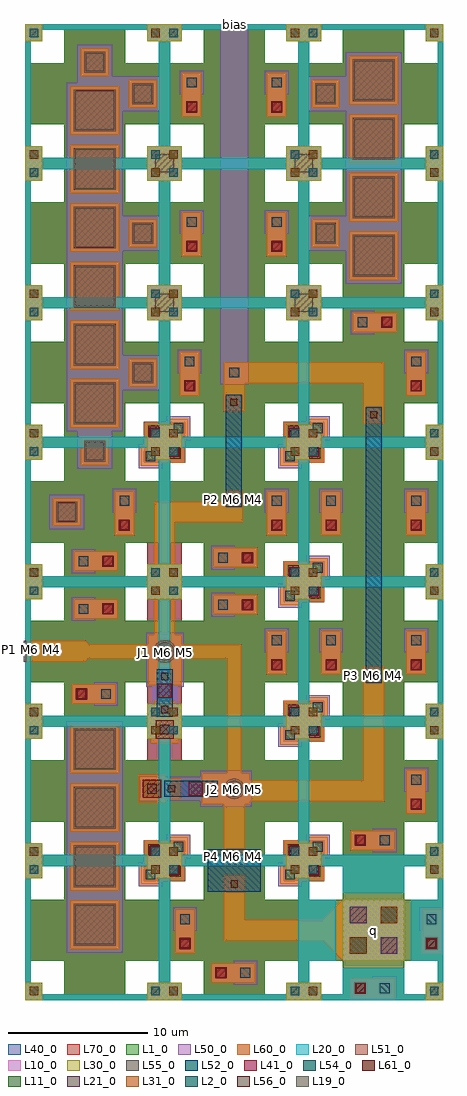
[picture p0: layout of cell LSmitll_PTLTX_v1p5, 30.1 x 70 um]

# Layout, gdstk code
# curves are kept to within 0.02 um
from math import pi, radians
import gdstk
lib = gdstk.Library(unit=1e-6, precision=1e-09)
def R(c, l, rs):  # rectangles x0, y0, x1, y1
    for r in rs: c.add(gdstk.rectangle(r[:2], r[2:], *l))
def A(c, l, x, y, w, h, nx, ny, dx, dy):  # array of equal rectangles
    R(c, l, [(x+i*dx, y+j*dy, x+i*dx+w, y+j*dy+h) for i in range(nx) for j in range(ny)])
def P(c, l, *ps):  # polygons
    for p in ps: c.add(gdstk.Polygon(p, *l))
L1_0 = (1, 0)
L2_0 = (2, 0)
L10_0 = (10, 0)
L11_0 = (11, 0)
L19_0 = (19, 0)
L20_0 = (20, 0)
L21_0 = (21, 0)
L30_0 = (30, 0)
L31_0 = (31, 0)
L40_0 = (40, 0)
L41_0 = (41, 0)
L50_0 = (50, 0)
L51_0 = (51, 0)
L52_0 = (52, 0)
L54_0 = (54, 0)
L55_0 = (55, 0)
L56_0 = (56, 0)
L60_0 = (60, 0)
L61_0 = (61, 0)
L70_0 = (70, 0)

ls_fakejj_1p5x1p5um = lib.new_cell('ls_FakeJJ_1p5x1p5um')
R(ls_fakejj_1p5x1p5um, L40_0, [(-1.25,-1.25,1.25,1.25)])
R(ls_fakejj_1p5x1p5um, L50_0, [(-1.25,-1.25,1.25,1.25)])
R(ls_fakejj_1p5x1p5um, L51_0, [(-0.75,-0.75,0.75,0.75)])
R(ls_fakejj_1p5x1p5um, L55_0, [(-0.65,-0.65,0.65,0.65)])
R(ls_fakejj_1p5x1p5um, L60_0, [(-1,-1,1,1)])

ls_fakejj_3umx3um = lib.new_cell('ls_FakeJJ_3umx3um')
R(ls_fakejj_3umx3um, L40_0, [(-2,-2,2,2)])
R(ls_fakejj_3umx3um, L50_0, [(-2,-2,2,2)])
R(ls_fakejj_3umx3um, L51_0, [(-1.5,-1.5,1.5,1.5)])
R(ls_fakejj_3umx3um, L55_0, [(-1.4,-1.4,1.4,1.4)])
R(ls_fakejj_3umx3um, L60_0, [(-1.75,-1.75,1.75,1.75)])

ls_conn_m4m5m6m7 = lib.new_cell('ls_conn_M4M5M6M7')
R(ls_conn_m4m5m6m7, L40_0, [(0,0,1.4,1.4)])
R(ls_conn_m4m5m6m7, L41_0, [(0.3,0.3,1.1,1.1)])
P(ls_conn_m4m5m6m7, L50_0, [(3.3,1.55),(1.6,1.55),(1.6,1.4),(0,1.4),(0,0),(1.6,0),(1.6,-0.15),(3.3,-0.15)])
R(ls_conn_m4m5m6m7, L54_0, [(2.1,0.35,2.8,1.05)])
R(ls_conn_m4m5m6m7, L60_0, [(0,0,3.15,1.4)])
R(ls_conn_m4m5m6m7, L61_0, [(0.35,0.35,1.05,1.05)])
R(ls_conn_m4m5m6m7, L70_0, [(0,0,1.4,1.4)])

ls_tr_ptlconnection = lib.new_cell('ls_tr_PTLconnection')
P(ls_tr_ptlconnection, L1_0, [(10,10),(7.2,10),(7.2,9.6),(8.75,9.6),(8.75,8.75),(9.6,8.75),(9.6,7.2),(7.2,7.2),(7.2,2.8),(9.6,2.8),(9.6,1.25),(8.75,1.25),(8.75,0.4),(7.2,0.4),(7.2,10),(1.25,10),(1.25,9.6),(2.8,9.6),(2.8,7.2),(0.4,7.2),(0.4,2.8),(2.8,2.8),(2.8,0.4),(1.25,0.4),(1.25,1.25),(0.4,1.25),(0.4,8.75),(1.25,8.75),(1.25,10),(0,10),(0,0),(10,0)])
R(ls_tr_ptlconnection, L2_0, [(9.05,0.35,9.65,0.95), (0.35,9.05,0.95,9.65)])
R(ls_tr_ptlconnection, L10_0, [(0,0,1.25,1.25), (8.75,0,10,1.25), (2.8,2.8,7.2,7.2), (0,8.75,1.25,10), (8.75,8.75,10,10)])
R(ls_tr_ptlconnection, L11_0, [(0.35,0.35,0.95,0.95), (3.3,3.3,4.5,4.5), (5.5,5.5,6.7,6.7), (9.05,9.05,9.65,9.65)])
R(ls_tr_ptlconnection, L20_0, [(2.8,2.8,7.2,7.2)])
P(ls_tr_ptlconnection, L20_0, [(10,10),(7.2,10),(7.2,9.6),(8.75,9.6),(8.75,8.75),(9.6,8.75),(9.6,7.2),(7.7,7.2),(7.7,2.8),(9.6,2.8),(9.6,1.25),(8.75,1.25),(8.75,0.4),(7.2,0.4),(7.2,2.3),(2.8,2.3),(2.8,0.4),(1.25,0.4),(1.25,1.25),(0.4,1.25),(0.4,2.8),(2.3,2.8),(2.3,7.2),(0.4,7.2),(0.4,8.75),(1.25,8.75),(1.25,9.6),(2.8,9.6),(2.8,7.7),(7.2,7.7),(7.2,10),(0,10),(0,0),(10,0)])
R(ls_tr_ptlconnection, L21_0, [(9.05,0.35,9.65,0.95), (5.5,3.3,6.7,4.5), (3.3,5.5,4.5,6.7), (0.35,9.05,0.95,9.65)])
R(ls_tr_ptlconnection, L30_0, [(0,0,1.25,1.25), (8.75,0,10,1.25), (2.8,2.8,7.2,7.2), (0,8.75,1.25,10), (8.75,8.75,10,10)])
R(ls_tr_ptlconnection, L31_0, [(0.35,0.35,0.95,0.95), (3.3,3.3,4.5,4.5), (5.5,5.5,6.7,6.7), (9.05,9.05,9.65,9.65)])
R(ls_tr_ptlconnection, L40_0, [(2.8,2.8,7.2,7.2)])
P(ls_tr_ptlconnection, L40_0, [(10,10),(7.2,10),(7.2,9.6),(8.75,9.6),(8.75,8.75),(9.6,8.75),(9.6,7.2),(7.7,7.2),(7.7,2.8),(9.6,2.8),(9.6,1.25),(8.75,1.25),(8.75,0.4),(7.2,0.4),(7.2,2.3),(2.8,2.3),(2.8,0.4),(1.25,0.4),(1.25,1.25),(0.4,1.25),(0.4,2.8),(2.3,2.8),(2.3,7.2),(0.4,7.2),(0.4,8.75),(1.25,8.75),(1.25,9.6),(2.8,9.6),(2.8,7.7),(7.2,7.7),(7.2,10),(0,10),(0,0),(10,0)])
R(ls_tr_ptlconnection, L41_0, [(5.5,3.3,6.7,4.5), (3.3,5.5,4.5,6.7)])
R(ls_tr_ptlconnection, L50_0, [(2.8,2.8,7.2,7.2)])
R(ls_tr_ptlconnection, L54_0, [(3.3,3.3,4.5,4.5), (5.5,5.5,6.7,6.7)])
R(ls_tr_ptlconnection, L60_0, [(2.8,2.8,7.2,7.2)])
P(ls_tr_ptlconnection, L70_0, [(10,10),(7.2,10),(7.2,9.6),(8.75,9.6),(8.75,8.75),(9.6,8.75),(9.6,7.2),(7.2,7.2),(7.2,2.8),(9.6,2.8),(9.6,1.25),(8.75,1.25),(8.75,0.4),(7.2,0.4),(7.2,10),(1.25,10),(1.25,9.6),(2.8,9.6),(2.8,7.2),(0.4,7.2),(0.4,2.8),(2.8,2.8),(2.8,0.4),(1.25,0.4),(1.25,1.25),(0.4,1.25),(0.4,8.75),(1.25,8.75),(1.25,10),(0,10),(0,0),(10,0)])

ls_res_1p36 = lib.new_cell('ls_res_1p36')
R(ls_res_1p36, L52_0, [(-1.9,0,1.9,3.05)])
R(ls_res_1p36, L56_0, [(-0.26,0.29,0.26,0.81), (-0.26,2.25,0.26,2.77)])
R(ls_res_1p36, L60_0, [(-0.625,-0.1,0.625,1.175), (-0.625,1.875,0.625,3.15)])

ls_ib_082 = lib.new_cell('ls_ib_082')
R(ls_ib_082, L52_0, [(-0.575,0,0.575,19.75)])
R(ls_ib_082, L56_0, [(-0.26,0.29,0.26,0.81), (-0.26,18.96,0.26,19.48)])
R(ls_ib_082, L60_0, [(-0.625,-0.1,0.625,1.175), (-0.625,18.575,0.625,19.85)])

ls_ib_230 = lib.new_cell('ls_ib_230')
R(ls_ib_230, L52_0, [(-0.575,0,0.575,8.025)])
R(ls_ib_230, L56_0, [(-0.26,0.29,0.26,0.81), (-0.26,7.23,0.26,7.75)])
R(ls_ib_230, L60_0, [(-0.625,-0.1,0.625,1.175), (-0.625,6.85,0.625,8.125)])

ls_conn_m5m6m7 = lib.new_cell('ls_conn_M5M6M7')
R(ls_conn_m5m6m7, L50_0, [(-0.5,-0.5,1.2,1.2)])
R(ls_conn_m5m6m7, L54_0, [(0,0,0.7,0.7)])
R(ls_conn_m5m6m7, L60_0, [(-0.65,-0.65,1.35,1.35)])
R(ls_conn_m5m6m7, L61_0, [(-0.3,-0.3,1,1)])
R(ls_conn_m5m6m7, L70_0, [(-0.65,-0.65,1.35,1.35)])

ls_jj_162_sg = lib.new_cell('ls_jj_162_sg')
R(ls_jj_162_sg, L41_0, [(-0.5,2.25,0.5,3.25)])
R(ls_jj_162_sg, L50_0, [(-1.275,-1.275,1.275,2.425), (-0.875,2.425,0.875,6.775)])
P(ls_jj_162_sg, L51_0, [(0,-0.74),(0.285,-0.685),(0.52,-0.525),(0.685,-0.285),(0.74,0),(0.685,0.28),(0.52,0.52),(0.285,0.68),(0,0.735),(-0.285,0.68),(-0.52,0.52),(-0.685,0.28),(-0.74,0),(-0.685,-0.285),(-0.52,-0.525),(-0.285,-0.685)])
R(ls_jj_162_sg, L52_0, [(-0.575,1.175,0.575,5.025)])
R(ls_jj_162_sg, L54_0, [(-0.35,5.55,0.35,6.25)])
P(ls_jj_162_sg, L55_0, [(0,-0.59),(0.23,-0.55),(0.42,-0.42),(0.54,-0.23),(0.59,0),(0.54,0.22),(0.42,0.43),(0.13,0.58),(0,0.59),(-0.13,0.58),(-0.42,0.43),(-0.54,0.22),(-0.59,0),(-0.54,-0.23),(-0.42,-0.42),(-0.23,-0.55)])
R(ls_jj_162_sg, L56_0, [(-0.26,1.44,0.26,1.96), (-0.26,4.23,0.26,4.75)])
R(ls_jj_162_sg, L60_0, [(-1.125,-1.125,1.125,2.325), (-0.725,3.85,0.725,6.625)])
ls_jj_162_sg.add(gdstk.Reference(ls_conn_m5m6m7, (-0.35,5.55)))

ls_tr_u_m4 = lib.new_cell('ls_tr_u_M4')
P(ls_tr_u_m4, L1_0, [(10,10),(7.2,10),(7.2,9.6),(8.75,9.6),(8.75,8.75),(9.6,8.75),(9.6,7.2),(7.2,7.2),(7.2,2.8),(9.6,2.8),(9.6,1.25),(8.75,1.25),(8.75,0.4),(7.2,0.4),(7.2,10),(1.25,10),(1.25,9.6),(2.8,9.6),(2.8,7.2),(0.4,7.2),(0.4,2.8),(2.8,2.8),(2.8,0.4),(1.25,0.4),(1.25,1.25),(0.4,1.25),(0.4,8.75),(1.25,8.75),(1.25,10),(0,10),(0,0),(10,0)])
R(ls_tr_u_m4, L2_0, [(9.05,0.35,9.65,0.95), (0.35,9.05,0.95,9.65)])
R(ls_tr_u_m4, L10_0, [(0,0,1.25,1.25), (8.75,0,10,1.25), (0,8.75,1.25,10), (8.75,8.75,10,10)])
R(ls_tr_u_m4, L11_0, [(0.35,0.35,0.95,0.95), (9.05,9.05,9.65,9.65)])
P(ls_tr_u_m4, L20_0, [(10,10),(1.25,10),(1.25,9.6),(8.75,9.6),(8.75,8.75),(9.6,8.75),(9.6,1.25),(8.75,1.25),(8.75,0.4),(1.25,0.4),(1.25,1.25),(0.4,1.25),(0.4,8.75),(1.25,8.75),(1.25,10),(0,10),(0,0),(10,0)])
R(ls_tr_u_m4, L21_0, [(9.05,0.35,9.65,0.95), (0.35,9.05,0.95,9.65)])
R(ls_tr_u_m4, L30_0, [(0,0,1.25,1.25), (8.75,0,10,1.25), (0,8.75,1.25,10), (8.75,8.75,10,10)])
R(ls_tr_u_m4, L31_0, [(0.35,0.35,0.95,0.95), (9.05,9.05,9.65,9.65)])
P(ls_tr_u_m4, L40_0, [(10,10),(7.2,10),(7.2,9.6),(8.75,9.6),(8.75,8.75),(9.6,8.75),(9.6,7.2),(7.2,7.2),(7.2,2.8),(9.6,2.8),(9.6,1.25),(8.75,1.25),(8.75,0.4),(7.2,0.4),(7.2,10),(1.25,10),(1.25,9.6),(2.8,9.6),(2.8,7.2),(0.4,7.2),(0.4,2.8),(2.8,2.8),(2.8,0.4),(1.25,0.4),(1.25,1.25),(0.4,1.25),(0.4,8.75),(1.25,8.75),(1.25,10),(0,10),(0,0),(10,0)])

ls_conn_m5m6 = lib.new_cell('ls_conn_M5M6')
R(ls_conn_m5m6, L50_0, [(0,0,1.7,1.7)])
R(ls_conn_m5m6, L54_0, [(0.5,0.5,1.2,1.2)])
R(ls_conn_m5m6, L60_0, [(0.15,0.15,1.55,1.55)])

ls_conn_m4m5m6m7_block = lib.new_cell('ls_conn_M4M5M6M7_block')
R(ls_conn_m4m5m6m7_block, L40_0, [(-1.475,-1.475,1.475,1.475)])
R(ls_conn_m4m5m6m7_block, L41_0, [(0.375,-1.175,1.175,-0.375), (-1.175,0.375,-0.375,1.175)])
P(ls_conn_m4m5m6m7_block, L50_0, [(1.85,1.85),(0.15,1.85),(0.15,1.475),(-1.475,1.475),(-1.475,-0.15),(-1.85,-0.15),(-1.85,-1.85),(-0.15,-1.85),(-0.15,-1.475),(1.475,-1.475),(1.475,0.15),(1.85,0.15)])
R(ls_conn_m4m5m6m7_block, L54_0, [(-1.35,-1.35,-0.65,-0.65), (0.65,0.65,1.35,1.35)])
P(ls_conn_m4m5m6m7_block, L60_0, [(1.7,1.7),(0.3,1.7),(0.3,1.45),(-1.45,1.45),(-1.45,-0.3),(-1.7,-0.3),(-1.7,-1.7),(-0.3,-1.7),(-0.3,-1.45),(1.45,-1.45),(1.45,0.3),(1.7,0.3)])
R(ls_conn_m4m5m6m7_block, L61_0, [(0.35,-1.05,1.05,-0.35), (-1.05,0.35,-0.35,1.05)])
R(ls_conn_m4m5m6m7_block, L70_0, [(-1.45,-1.45,1.45,1.45)])

ls_tr_m7 = lib.new_cell('ls_tr_M7')
P(ls_tr_m7, L70_0, [(10,10),(7.2,10),(7.2,9.6),(8.75,9.6),(8.75,8.75),(9.6,8.75),(9.6,7.2),(7.2,7.2),(7.2,2.8),(9.6,2.8),(9.6,1.25),(8.75,1.25),(8.75,0.4),(7.2,0.4),(7.2,10),(1.25,10),(1.25,9.6),(2.8,9.6),(2.8,7.2),(0.4,7.2),(0.4,2.8),(2.8,2.8),(2.8,0.4),(1.25,0.4),(1.25,1.25),(0.4,1.25),(0.4,8.75),(1.25,8.75),(1.25,10),(0,10),(0,0),(10,0)])

ls_jj_200_sg = lib.new_cell('ls_jj_200_sg')
R(ls_jj_200_sg, L41_0, [(-0.5,2.325,0.5,3.325)])
R(ls_jj_200_sg, L50_0, [(-1.35,-1.35,1.35,2.525), (-0.875,2.525,0.875,6.45)])
P(ls_jj_200_sg, L51_0, [(0,-0.815),(0.315,-0.755),(0.58,-0.575),(0.755,-0.31),(0.815,0),(0.755,0.315),(0.58,0.58),(0.315,0.76),(0,0.82),(-0.315,0.76),(-0.58,0.58),(-0.755,0.315),(-0.815,0),(-0.755,-0.31),(-0.58,-0.575),(-0.315,-0.755)])
R(ls_jj_200_sg, L52_0, [(-0.575,1.275,0.575,4.7)])
P(ls_jj_200_sg, L55_0, [(0,-0.67),(0.27,-0.62),(0.37,-0.56),(0.57,-0.37),(0.67,-0.13),(0.67,0.13),(0.57,0.37),(0.27,0.61),(0,0.67),(-0.27,0.61),(-0.47,0.47),(-0.57,0.37),(-0.67,0.13),(-0.67,-0.13),(-0.57,-0.37),(-0.27,-0.62)])
R(ls_jj_200_sg, L56_0, [(-0.26,1.54,0.26,2.06), (-0.26,3.91,0.26,4.43)])
R(ls_jj_200_sg, L60_0, [(-1.2,-1.2,1.2,2.425), (-0.725,3.525,0.725,6.3)])
ls_jj_200_sg.add(gdstk.Reference(ls_conn_m5m6m7, (-0.35,5.25)))

lsmitll_ptltx_v1p5 = lib.new_cell('LSmitll_PTLTX_v1p5')
R(lsmitll_ptltx_v1p5, L19_0, [(14.75,10.025,15.25,10.525), (24.75,23.05,25.25,23.55), (14.725,35.675,15.225,36.175)])
R(lsmitll_ptltx_v1p5, L40_0, [(8.75,17.2,11.25,22.8), (8.75,27.2,11.25,32.8)])
A(lsmitll_ptltx_v1p5, L50_0, 3, 7.4, 4, 0.2, 1, 3, 0, 4.2)
A(lsmitll_ptltx_v1p5, L50_0, 7, 43.75, 0.2, 2.5, 1, 3, 0, 10)
A(lsmitll_ptltx_v1p5, L50_0, 3, 44.8, 4, 0.2, 1, 5, 0, 4.2)
A(lsmitll_ptltx_v1p5, L50_0, 23, 55.375, 4, 0.2, 1, 3, 0, 4.2)
R(lsmitll_ptltx_v1p5, L50_0, [(23.35,0,24.95,0.15), (29.85,3.35,30,4.95), (3.75,40.6,6.25,40.8), (22.8,53.75,23,56.25), (22.8,63.75,23,66.25), (3.75,65.8,6.25,66), (6.25,65.8,7,66.25)])
R(lsmitll_ptltx_v1p5, L60_0, [(23.35,0,26.5,0.15), (29.85,3.35,30,6.5)])
P(lsmitll_ptltx_v1p5, L60_0, [(4.325,25.75),(4.325,24.25),(5.075,25)],
  [(22.8,7.2),(20.6,5),(22.8,2.8)])
R(lsmitll_ptltx_v1p5, L70_0, [(8.75,17.2,11.25,22.8), (8.75,27.2,11.25,32.8)])
lsmitll_ptltx_v1p5.add(gdstk.FlexPath([(21.825,5),(14.55,5)], 1.5, ends="flush", simple_path=True, layer=60, datatype=0))  # L60_0
lsmitll_ptltx_v1p5.add(gdstk.FlexPath([(10,35),(15.6,35)], 1.5, ends="flush", simple_path=True, layer=60, datatype=0))  # L60_0
lsmitll_ptltx_v1p5.add(gdstk.FlexPath([(10,26.2),(10,35.75)], 1.5, ends="flush", simple_path=True, layer=60, datatype=0))  # L60_0
lsmitll_ptltx_v1p5.add(gdstk.FlexPath([(4.325,25),(0,25)], 1.5, ends="flush", simple_path=True, layer=60, datatype=0))  # L60_0
lsmitll_ptltx_v1p5.add(gdstk.FlexPath([(15,4.25),(15,8.95)], 1.5, ends="flush", simple_path=True, layer=60, datatype=0))  # L60_0
lsmitll_ptltx_v1p5.add(gdstk.FlexPath([(15,9.65),(15,14.1)], 1.5, ends="flush", simple_path=True, layer=60, datatype=0))  # L60_0
lsmitll_ptltx_v1p5.add(gdstk.FlexPath([(10.9,24.975),(15.5,24.975)], 1, ends="flush", simple_path=True, layer=60, datatype=0))  # L60_0
lsmitll_ptltx_v1p5.add(gdstk.FlexPath([(15,25.45),(15,16.125)], 1, ends="flush", simple_path=True, layer=60, datatype=0))  # L60_0
lsmitll_ptltx_v1p5.add(gdstk.FlexPath([(16.125,15),(25,15),(25,23.925)], 1.5, ends="flush", simple_path=True, layer=60, datatype=0))  # L60_0
lsmitll_ptltx_v1p5.add(gdstk.FlexPath([(15,45.75),(15,42.225)], 1.5, ends="flush", simple_path=True, layer=60, datatype=0))  # L60_0
lsmitll_ptltx_v1p5.add(gdstk.FlexPath([(14.25,45),(25.75,45)], 1.5, ends="flush", simple_path=True, layer=60, datatype=0))  # L60_0
lsmitll_ptltx_v1p5.add(gdstk.FlexPath([(25,41.325),(25,44.25)], 1.5, ends="flush", simple_path=True, layer=60, datatype=0))  # L60_0
lsmitll_ptltx_v1p5.add(gdstk.FlexPath([(15,44.15),(15,70)], 2, ends="flush", simple_path=True, layer=50, datatype=0))  # L50_0
lsmitll_ptltx_v1p5.add(gdstk.FlexPath([(0,24.25),(0,25.75)], 0.2, ends="flush", simple_path=True, layer=19, datatype=0))  # L19_0
lsmitll_ptltx_v1p5.add(gdstk.FlexPath([(9,25),(4.175,25)], 1.05, ends="flush", simple_path=True, layer=60, datatype=0))  # L60_0
lsmitll_ptltx_v1p5.add(gdstk.Reference(ls_fakejj_1p5x1p5um, (10,50)))
lsmitll_ptltx_v1p5.add(gdstk.Reference(ls_fakejj_1p5x1p5um, (20,50)))
lsmitll_ptltx_v1p5.add(gdstk.Reference(ls_fakejj_1p5x1p5um, (20,60)))
lsmitll_ptltx_v1p5.add(gdstk.Reference(ls_fakejj_1p5x1p5um, (10,60)))
lsmitll_ptltx_v1p5.add(gdstk.Reference(ls_fakejj_3umx3um, (5,5.4)))
lsmitll_ptltx_v1p5.add(gdstk.Reference(ls_fakejj_3umx3um, (5,9.6)))
lsmitll_ptltx_v1p5.add(gdstk.Reference(ls_fakejj_3umx3um, (5,13.8)))
lsmitll_ptltx_v1p5.add(gdstk.Reference(ls_fakejj_3umx3um, (5,18)))
lsmitll_ptltx_v1p5.add(gdstk.Reference(ls_fakejj_3umx3um, (5,42.8)))
lsmitll_ptltx_v1p5.add(gdstk.Reference(ls_conn_m4m5m6m7, (26.65,47.9), rotation=pi, x_reflection=True))
lsmitll_ptltx_v1p5.add(gdstk.Reference(ls_conn_m4m5m6m7, (12.5,43.35), rotation=pi/2))
lsmitll_ptltx_v1p5.add(gdstk.Reference(ls_conn_m4m5m6m7, (18.75,33.35), rotation=pi/2))
lsmitll_ptltx_v1p5.add(gdstk.Reference(ls_conn_m4m5m6m7, (28.75,43.35), rotation=pi/2))
lsmitll_ptltx_v1p5.add(gdstk.Reference(ls_conn_m4m5m6m7, (22.65,33.35), rotation=pi/2))
lsmitll_ptltx_v1p5.add(gdstk.Reference(ls_conn_m4m5m6m7, (28.75,33.35), rotation=pi/2))
lsmitll_ptltx_v1p5.add(gdstk.Reference(ls_conn_m4m5m6m7, (28.75,23.35), rotation=pi/2))
lsmitll_ptltx_v1p5.add(gdstk.Reference(ls_conn_m4m5m6m7, (23.35,10.75)))
lsmitll_ptltx_v1p5.add(gdstk.Reference(ls_conn_m4m5m6m7, (23.35,0.15)))
lsmitll_ptltx_v1p5.add(gdstk.Reference(ls_conn_m4m5m6m7, (12.175,3.35), rotation=pi/2))
lsmitll_ptltx_v1p5.add(gdstk.Reference(ls_conn_m4m5m6m7, (29.85,3.35), rotation=pi/2))
lsmitll_ptltx_v1p5.add(gdstk.Reference(ls_conn_m4m5m6m7, (22.65,23.35), rotation=pi/2))
lsmitll_ptltx_v1p5.add(gdstk.Reference(ls_conn_m4m5m6m7, (18.75,23.35), rotation=pi/2))
lsmitll_ptltx_v1p5.add(gdstk.Reference(ls_conn_m4m5m6m7, (3.35,21.25)))
lsmitll_ptltx_v1p5.add(gdstk.Reference(ls_conn_m4m5m6m7, (6.65,27.35), rotation=pi, x_reflection=True))
lsmitll_ptltx_v1p5.add(gdstk.Reference(ls_tr_ptlconnection, (20,0)))
lsmitll_ptltx_v1p5.add(gdstk.Reference(ls_res_1p36, (15,7.775)))
lsmitll_ptltx_v1p5.add(gdstk.Reference(ls_ib_082, (25,22.75)))
lsmitll_ptltx_v1p5.add(gdstk.Reference(ls_ib_230, (14.975,35.375)))
lsmitll_ptltx_v1p5.add(gdstk.Reference(ls_jj_162_sg, (15.001,15.15), rotation=3*pi/2, x_reflection=True))
lsmitll_ptltx_v1p5.add(gdstk.Reference(ls_tr_u_m4, (0,40)))
lsmitll_ptltx_v1p5.add(gdstk.Reference(ls_tr_u_m4, (0,30)))
lsmitll_ptltx_v1p5.add(gdstk.Reference(ls_tr_u_m4, (0,20)))
lsmitll_ptltx_v1p5.add(gdstk.Reference(ls_tr_u_m4, (0,10)))
lsmitll_ptltx_v1p5.add(gdstk.Reference(ls_tr_u_m4, (0,0)))
lsmitll_ptltx_v1p5.add(gdstk.Reference(ls_tr_u_m4, (10,10)))
lsmitll_ptltx_v1p5.add(gdstk.Reference(ls_tr_u_m4, (10,20)))
lsmitll_ptltx_v1p5.add(gdstk.Reference(ls_tr_u_m4, (10,30)))
lsmitll_ptltx_v1p5.add(gdstk.Reference(ls_tr_u_m4, (10,40)))
lsmitll_ptltx_v1p5.add(gdstk.Reference(ls_tr_u_m4, (20,40)))
lsmitll_ptltx_v1p5.add(gdstk.Reference(ls_tr_u_m4, (20,30)))
lsmitll_ptltx_v1p5.add(gdstk.Reference(ls_tr_u_m4, (20,20)))
lsmitll_ptltx_v1p5.add(gdstk.Reference(ls_tr_u_m4, (20,10)))
lsmitll_ptltx_v1p5.add(gdstk.Reference(ls_tr_u_m4, (10,0)))
lsmitll_ptltx_v1p5.add(gdstk.Reference(ls_conn_m4m5m6m7, (16.65,27.65), rotation=pi, x_reflection=True))
lsmitll_ptltx_v1p5.add(gdstk.Reference(ls_conn_m5m6, (14.15,44.15)))
lsmitll_ptltx_v1p5.add(gdstk.Reference(ls_conn_m4m5m6m7_block, (20,20)))
lsmitll_ptltx_v1p5.add(gdstk.Reference(ls_conn_m4m5m6m7_block, (20,10)))
lsmitll_ptltx_v1p5.add(gdstk.Reference(ls_conn_m4m5m6m7_block, (10,10)))
lsmitll_ptltx_v1p5.add(gdstk.Reference(ls_conn_m4m5m6m7_block, (20,30)))
lsmitll_ptltx_v1p5.add(gdstk.Reference(ls_conn_m4m5m6m7_block, (20,40)))
lsmitll_ptltx_v1p5.add(gdstk.Reference(ls_conn_m4m5m6m7_block, (10,40)))
r = gdstk.Reference(ls_tr_m7, (0,0)); r.repetition = gdstk.Repetition(3, 7, v1=(10,0), v2=(0,10)); lsmitll_ptltx_v1p5.add(r)
lsmitll_ptltx_v1p5.add(gdstk.Reference(ls_conn_m4m5m6m7, (28.75,13.35), rotation=pi/2))
lsmitll_ptltx_v1p5.add(gdstk.Reference(ls_jj_200_sg, (10.025,25), rotation=pi))
lsmitll_ptltx_v1p5.add(gdstk.Reference(ls_conn_m4m5m6m7, (7.825,33.35), rotation=pi/2))
lsmitll_ptltx_v1p5.add(gdstk.Reference(ls_fakejj_3umx3um, (5,47)))
lsmitll_ptltx_v1p5.add(gdstk.Reference(ls_fakejj_1p5x1p5um, (5,39.35)))
lsmitll_ptltx_v1p5.add(gdstk.Reference(ls_fakejj_1p5x1p5um, (8.45,45)))
lsmitll_ptltx_v1p5.add(gdstk.Reference(ls_fakejj_1p5x1p5um, (3,35)))
lsmitll_ptltx_v1p5.add(gdstk.Reference(ls_tr_u_m4, (20,50)))
lsmitll_ptltx_v1p5.add(gdstk.Reference(ls_tr_u_m4, (10,50)))
lsmitll_ptltx_v1p5.add(gdstk.Reference(ls_tr_u_m4, (0,50)))
lsmitll_ptltx_v1p5.add(gdstk.Reference(ls_tr_u_m4, (0,60)))
lsmitll_ptltx_v1p5.add(gdstk.Reference(ls_tr_u_m4, (10,60)))
lsmitll_ptltx_v1p5.add(gdstk.Reference(ls_tr_u_m4, (20,60)))
lsmitll_ptltx_v1p5.add(gdstk.Reference(ls_conn_m4m5m6m7, (12.65,53.35), rotation=pi/2))
lsmitll_ptltx_v1p5.add(gdstk.Reference(ls_conn_m4m5m6m7, (18.75,53.35), rotation=pi/2))
lsmitll_ptltx_v1p5.add(gdstk.Reference(ls_conn_m4m5m6m7, (18.75,63.35), rotation=pi/2))
lsmitll_ptltx_v1p5.add(gdstk.Reference(ls_conn_m4m5m6m7, (12.65,63.35), rotation=pi/2))
lsmitll_ptltx_v1p5.add(gdstk.Reference(ls_fakejj_3umx3um, (5,51.2)))
lsmitll_ptltx_v1p5.add(gdstk.Reference(ls_fakejj_3umx3um, (5,55.4)))
lsmitll_ptltx_v1p5.add(gdstk.Reference(ls_fakejj_3umx3um, (5,59.6)))
lsmitll_ptltx_v1p5.add(gdstk.Reference(ls_fakejj_3umx3um, (5,63.8)))
lsmitll_ptltx_v1p5.add(gdstk.Reference(ls_fakejj_3umx3um, (25,65.975)))
lsmitll_ptltx_v1p5.add(gdstk.Reference(ls_fakejj_3umx3um, (25,61.775)))
lsmitll_ptltx_v1p5.add(gdstk.Reference(ls_fakejj_3umx3um, (25,57.575)))
lsmitll_ptltx_v1p5.add(gdstk.Reference(ls_fakejj_3umx3um, (25,53.375)))
lsmitll_ptltx_v1p5.add(gdstk.Reference(ls_fakejj_1p5x1p5um, (5,67.25)))
lsmitll_ptltx_v1p5.add(gdstk.Reference(ls_fakejj_1p5x1p5um, (8.45,55)))
lsmitll_ptltx_v1p5.add(gdstk.Reference(ls_fakejj_1p5x1p5um, (8.45,65)))
lsmitll_ptltx_v1p5.add(gdstk.Reference(ls_fakejj_1p5x1p5um, (21.55,55)))
lsmitll_ptltx_v1p5.add(gdstk.Reference(ls_fakejj_1p5x1p5um, (21.55,65)))
lsmitll_ptltx_v1p5.add(gdstk.Reference(ls_conn_m4m5m6m7, (16.65,31.025), rotation=pi, x_reflection=True))
lsmitll_ptltx_v1p5.add(gdstk.Reference(ls_conn_m4m5m6m7, (13.35,1.25)))
lsmitll_ptltx_v1p5.add(gdstk.Reference(ls_conn_m4m5m6m7, (6.65,30.775), rotation=pi, x_reflection=True))
lsmitll_ptltx_v1p5.add(gdstk.Label('J1 M6 M5', (10.05,24.95), layer=182, texttype=0))
lsmitll_ptltx_v1p5.add(gdstk.Label('J2 M6 M5', (15.025,15.125), layer=182, texttype=0))
lsmitll_ptltx_v1p5.add(gdstk.Label('P4 M6 M4', (14.975,10.3), layer=182, texttype=0))
lsmitll_ptltx_v1p5.add(gdstk.Label('P3 M6 M4', (25,23.3), layer=182, texttype=0))
lsmitll_ptltx_v1p5.add(gdstk.Label('P2 M6 M4', (14.975,35.925), layer=182, texttype=0))
lsmitll_ptltx_v1p5.add(gdstk.Label('P1 M6 M4', (0,25.125), layer=182, texttype=0))
lsmitll_ptltx_v1p5.add(gdstk.Label('a', (0,25.1), layer=182, texttype=0))
lsmitll_ptltx_v1p5.add(gdstk.Label('q', (25,5), layer=182, texttype=0))
lsmitll_ptltx_v1p5.add(gdstk.Label('bias', (15,70), layer=182, texttype=0))

lib.write_gds('LSmitll_PTLTX_v1p5.gds')
